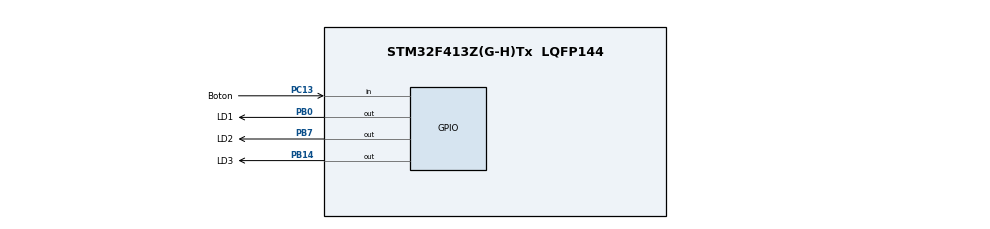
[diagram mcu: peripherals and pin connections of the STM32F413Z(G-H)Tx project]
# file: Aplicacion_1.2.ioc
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Mcu.Family=STM32F4
Mcu.Name=STM32F413Z(G-H)Tx
Mcu.Package=LQFP144
NVIC.PriorityGroup=NVIC_PRIORITYGROUP_4
PB0.GPIO_Label=LD1
PB0.Signal=GPIO_Output
PB14.GPIO_Label=LD3
PB14.Signal=GPIO_Output
PB7.GPIO_Label=LD2
PB7.Signal=GPIO_Output
PC13.GPIO_Label=Boton
PC13.Signal=GPIO_Input
PH0\ -\ OSC_IN.Mode=HSE-External-Oscillator
PH0\ -\ OSC_IN.Signal=RCC_OSC_IN
PH1\ -\ OSC_OUT.Mode=HSE-External-Oscillator
PH1\ -\ OSC_OUT.Signal=RCC_OSC_OUT
ProjectManager.HeapSize=0x200
ProjectManager.StackSize=0x400
ProjectManager.TargetToolchain=STM32CubeIDE
RCC.CortexFreq_Value=16000000
RCC.USBFreq_Value=96000000
RCC.VCOOutputFreq_Value=192000000
board=custom

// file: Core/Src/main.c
/* USER CODE BEGIN Header */
/**
  ******************************************************************************
  * @file           : main.c
  * @brief          : Main program body
  ******************************************************************************
  * @attention
  *
  * Copyright (c) 2026 STMicroelectronics.
  * All rights reserved.
  *
  * This software is licensed under terms that can be found in the LICENSE file
  * in the root directory of this software component.
  * If no LICENSE file comes with this software, it is provided AS-IS.
  *
  ******************************************************************************
  */
/* USER CODE END Header */
#include "main.h"

void SystemClock_Config(void);
static void MX_GPIO_Init(void);

int main(void)
{

  /* MCU Configuration--------------------------------------------------------*/

  /* Reset of all peripherals, Initializes the Flash interface and the Systick. */
  HAL_Init();

  /* USER CODE BEGIN Init */

  uint16_t leds[3] = {LD1_Pin, LD2_Pin, LD3_Pin}; //vector de leds
  uint8_t Boton; // estado actual del boton en cada vuelta
  uint8_t Boton_Anterior = 0;//guarda cómo estaba el botón en la vuelta anterior, arranca en 0 (no apretado)
  uint8_t invertido = 0; // en cero secuencia normal e invertido en 1

  /* USER CODE END Init */

  /* Configure the system clock */
  SystemClock_Config();

  /* Initialize all configured peripherals */
  MX_GPIO_Init();

  /* Infinite loop */
  while (1)
  {

    /* USER CODE BEGIN 3 */
	  Boton = HAL_GPIO_ReadPin(GPIOC,Boton_Pin);  //lectura del boton, apagado en 0 encendido en 1

	   if (Boton ==1 && Boton_Anterior == 0) //comparacion del estado
	   {
	     invertido = 1 - invertido; // si estaba en 0 pasa a 1, si estaba en 1 pasa a 0
	   }
	   Boton_Anterior = Boton;

	   if (invertido == 0) // según cómo quedó la variable "invertido", elijo qué secuencia correr
	   {
	     for (uint8_t i = 0; i < 3; i++) //secuencia normal
	     {
	       HAL_GPIO_WritePin(GPIOB, leds[i], GPIO_PIN_SET);
	       HAL_Delay(200);
	       HAL_GPIO_WritePin(GPIOB, leds[i], GPIO_PIN_RESET);
	       HAL_Delay(200);
	     }
	   }
	   else
	   {
	     for (int8_t i = 2; i >= 0; i--) //secuencia invertida
	     {
	       HAL_GPIO_WritePin(GPIOB, leds[i], GPIO_PIN_SET);
	       HAL_Delay(200);
	       HAL_GPIO_WritePin(GPIOB, leds[i], GPIO_PIN_RESET);
	       HAL_Delay(200);
	     }
	   }
  /* USER CODE END 3 */
	}
}

void SystemClock_Config(void)
{
  RCC_OscInitTypeDef RCC_OscInitStruct = {0};
  RCC_ClkInitTypeDef RCC_ClkInitStruct = {0};

  /** Configure the main internal regulator output voltage
  */
  __HAL_RCC_PWR_CLK_ENABLE();
  __HAL_PWR_VOLTAGESCALING_CONFIG(PWR_REGULATOR_VOLTAGE_SCALE1);

  /** Initializes the RCC Oscillators according to the specified parameters
  * in the RCC_OscInitTypeDef structure.
  */
  RCC_OscInitStruct.OscillatorType = RCC_OSCILLATORTYPE_HSI;
  RCC_OscInitStruct.HSIState = RCC_HSI_ON;
  RCC_OscInitStruct.HSICalibrationValue = RCC_HSICALIBRATION_DEFAULT;
  RCC_OscInitStruct.PLL.PLLState = RCC_PLL_NONE;
  if (HAL_RCC_OscConfig(&RCC_OscInitStruct) != HAL_OK)
  {
    Error_Handler();
  }

  /** Initializes the CPU, AHB and APB buses clocks
  */
  RCC_ClkInitStruct.ClockType = RCC_CLOCKTYPE_HCLK|RCC_CLOCKTYPE_SYSCLK
                              |RCC_CLOCKTYPE_PCLK1|RCC_CLOCKTYPE_PCLK2;
  RCC_ClkInitStruct.SYSCLKSource = RCC_SYSCLKSOURCE_HSI;
  RCC_ClkInitStruct.AHBCLKDivider = RCC_SYSCLK_DIV1;
  RCC_ClkInitStruct.APB1CLKDivider = RCC_HCLK_DIV1;
  RCC_ClkInitStruct.APB2CLKDivider = RCC_HCLK_DIV1;

  if (HAL_RCC_ClockConfig(&RCC_ClkInitStruct, FLASH_LATENCY_0) != HAL_OK)
  {
    Error_Handler();
  }
}

static void MX_GPIO_Init(void)
{
  GPIO_InitTypeDef GPIO_InitStruct = {0};

  /* GPIO Ports Clock Enable */
  __HAL_RCC_GPIOC_CLK_ENABLE();
  __HAL_RCC_GPIOH_CLK_ENABLE();
  __HAL_RCC_GPIOB_CLK_ENABLE();

  /*Configure GPIO pin Output Level */
  HAL_GPIO_WritePin(GPIOB, LD1_Pin|LD3_Pin|LD2_Pin, GPIO_PIN_RESET);

  /*Configure GPIO pin : Boton_Pin */
  GPIO_InitStruct.Pin = Boton_Pin;
  GPIO_InitStruct.Mode = GPIO_MODE_INPUT;
  GPIO_InitStruct.Pull = GPIO_NOPULL;
  HAL_GPIO_Init(Boton_GPIO_Port, &GPIO_InitStruct);

  /*Configure GPIO pins : LD1_Pin LD3_Pin LD2_Pin */
  GPIO_InitStruct.Pin = LD1_Pin|LD3_Pin|LD2_Pin;
  GPIO_InitStruct.Mode = GPIO_MODE_OUTPUT_PP;
  GPIO_InitStruct.Pull = GPIO_NOPULL;
  GPIO_InitStruct.Speed = GPIO_SPEED_FREQ_LOW;
  HAL_GPIO_Init(GPIOB, &GPIO_InitStruct);

}

void Error_Handler(void)
{
  __disable_irq();
  while (1)
  {
  }
}
